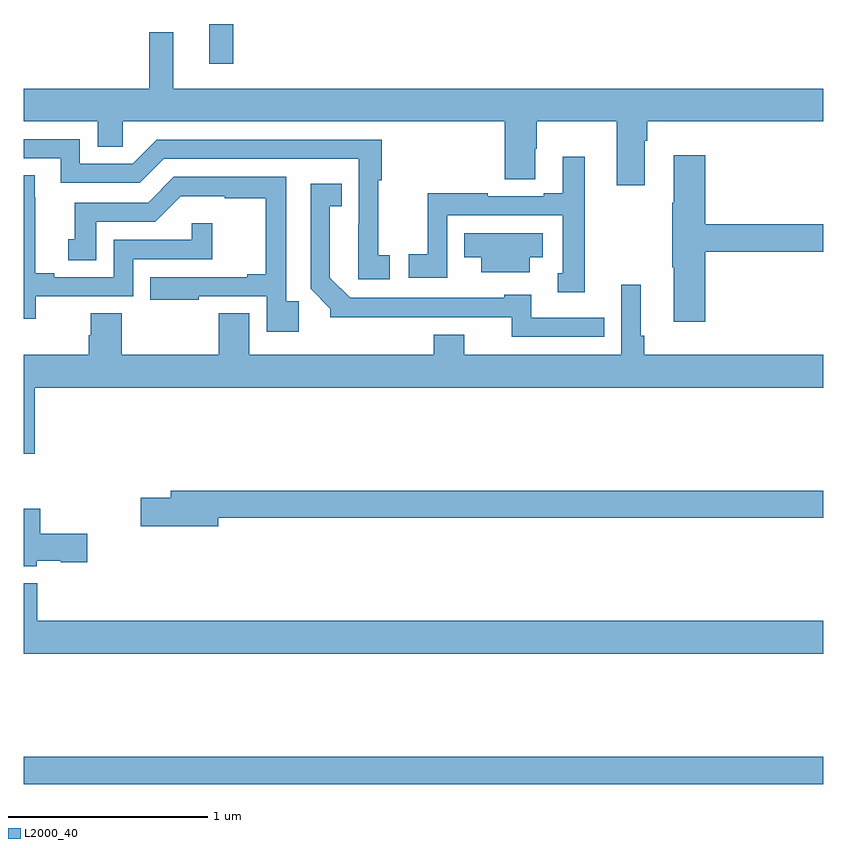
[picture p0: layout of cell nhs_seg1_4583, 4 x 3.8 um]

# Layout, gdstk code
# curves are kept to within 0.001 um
import gdstk
lib = gdstk.Library(unit=1e-6, precision=1e-09)
def R(c, l, rs):  # rectangles x0, y0, x1, y1
    for r in rs: c.add(gdstk.rectangle(r[:2], r[2:], *l))
def P(c, l, *ps):  # polygons
    for p in ps: c.add(gdstk.Polygon(p, *l))
L2000_40 = (2000, 40)

nhs_seg1_4583 = lib.new_cell('nhs_seg1_4583')
R(nhs_seg1_4583, L2000_40, [(359,568.396,363,568.532), (359.927,572.001,360.049,572.199)])
P(nhs_seg1_4583, L2000_40, [(362.107,571.616),(362.12,571.616),(362.12,571.712),(363,571.712),(363,571.876),(359.749,571.876),(359.749,572.158),(359.628,572.158),(359.628,571.876),(359,571.876),(359,571.712),(359.369,571.712),(359.369,571.585),(359.496,571.585),(359.496,571.712),(361.406,571.712),(361.406,571.423),(361.558,571.423),(361.558,571.574),(361.566,571.574),(361.566,571.712),(361.967,571.712),(361.967,571.392),(362.107,571.392)],
  [(360.832,571.041),(360.774,571.041),(360.774,571.417),(360.791,571.417),(360.791,571.62),(359.664,571.62),(359.544,571.5),(359.28,571.5),(359.28,571.623),(359,571.623),(359,571.527),(359.184,571.527),(359.184,571.404),(359.58,571.404),(359.7,571.524),(360.675,571.524),(360.674,570.921),(360.832,570.921)],
  [(362.411,571.06),(363,571.06),(363,571.196),(362.411,571.196),(362.411,571.543),(362.252,571.543),(362.252,571.304),(362.245,571.304),(362.245,570.983),(362.252,570.983),(362.252,570.708),(362.411,570.708)],
  [(361.807,571.534),(361.697,571.534),(361.697,571.351),(361.601,571.351),(361.601,571.338),(361.322,571.338),(361.322,571.351),(361.021,571.351),(361.021,571.046),(360.927,571.046),(360.927,570.93),(361.119,570.93),(361.119,571.242),(361.698,571.242),(361.698,570.951),(361.673,570.951),(361.673,570.857),(361.807,570.857)],
  [(359.06,570.837),(359.547,570.837),(359.547,571.023),(359.942,571.023),(359.942,571.201),(359.841,571.201),(359.841,571.119),(359.451,571.119),(359.451,570.933),(359.152,570.933),(359.152,570.953),(359.056,570.953),(359.056,571.331),(359.054,571.331),(359.054,571.442),(359,571.442),(359,570.723),(359.06,570.723)],
  [(360.377,570.811),(360.312,570.811),(360.312,571.434),(359.751,571.434),(359.622,571.305),(359.255,571.305),(359.255,571.122),(359.222,571.122),(359.222,571.018),(359.362,571.018),(359.362,571.209),(359.658,571.209),(359.786,571.337),(360.005,571.337),(360.005,571.326),(360.211,571.326),(360.211,570.946),(360.119,570.946),(360.119,570.933),(359.632,570.933),(359.632,570.818),(359.875,570.818),(359.875,570.837),(360.216,570.837),(360.216,570.66),(360.377,570.66)],
  [(361.904,570.729),(361.54,570.729),(361.54,570.844),(361.404,570.844),(361.404,570.828),(360.633,570.828),(360.532,570.929),(360.532,571.286),(360.59,571.286),(360.59,571.399),(360.435,571.399),(360.435,570.874),(360.534,570.775),(360.534,570.731),(361.441,570.732),(361.441,570.633),(361.904,570.633)],
  [(361.531,571.031),(361.597,571.031),(361.597,571.153),(361.204,571.153),(361.204,571.031),(361.289,571.031),(361.289,570.956),(361.531,570.956)],
  [(359.054,570.38),(363,570.38),(363,570.544),(362.105,570.544),(362.105,570.64),(362.086,570.64),(362.086,570.895),(361.989,570.895),(361.989,570.544),(361.204,570.544),(361.204,570.643),(361.052,570.643),(361.052,570.544),(360.127,570.544),(360.127,570.752),(359.975,570.752),(359.975,570.544),(359.489,570.544),(359.489,570.752),(359.336,570.752),(359.336,570.642),(359.324,570.642),(359.324,570.544),(359,570.544),(359,570.048),(359.054,570.048)],
  [(359.974,569.728),(363,569.728),(363,569.864),(359.735,569.864),(359.735,569.828),(359.586,569.828),(359.586,569.686),(359.974,569.686)],
  [(359.064,569.513),(359.184,569.513),(359.184,569.506),(359.317,569.506),(359.317,569.648),(359.081,569.648),(359.081,569.773),(359,569.773),(359,569.486),(359.064,569.486)],
  [(363,569.212),(359.066,569.212),(359.066,569.401),(359,569.401),(359,569.048),(363,569.048)])

lib.write_gds('nhs_seg1_4583.gds')
